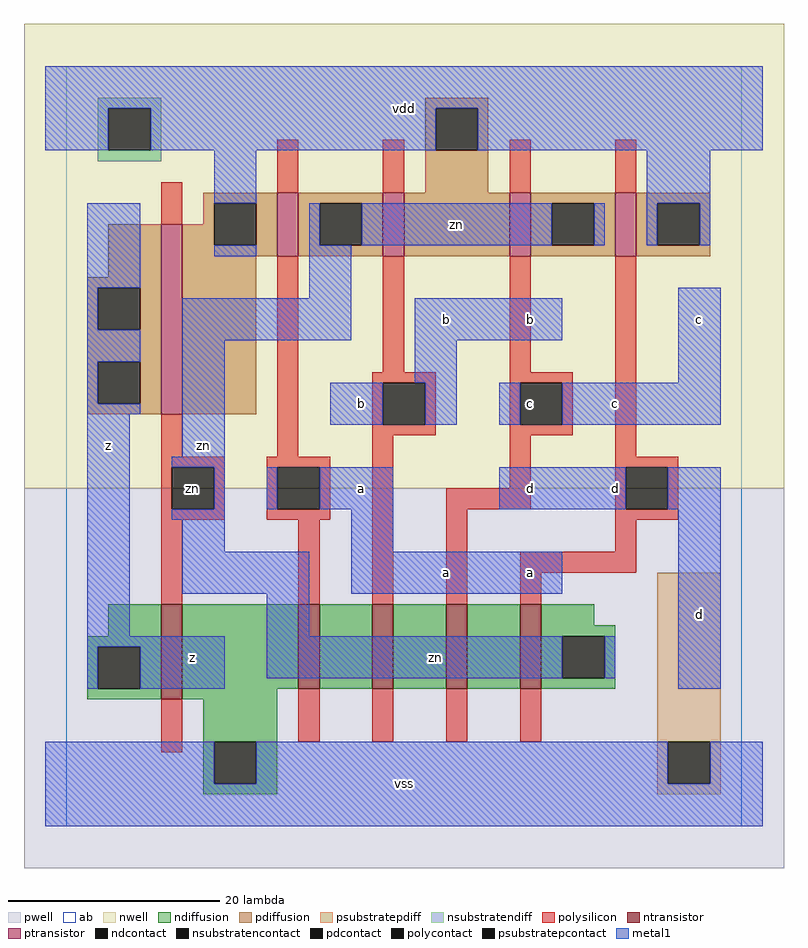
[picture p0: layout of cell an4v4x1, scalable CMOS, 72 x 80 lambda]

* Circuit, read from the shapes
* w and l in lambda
.subckt an4v4x1 a b c d vdd vss z zn
M1 vss zn z vss nfet w=9 l=2
M2 n1 a vss vss nfet w=8 l=2
M3 n2 b n1 vss nfet w=8 l=2
M4 n3 c n2 vss nfet w=8 l=2
M5 zn d n3 vss nfet w=8 l=2
M6 vdd zn z vdd pfet w=18 l=2
M7 zn a vdd vdd pfet w=6 l=2
M8 vdd b zn vdd pfet w=6 l=2
M9 zn c vdd vdd pfet w=6 l=2
M10 vdd d zn vdd pfet w=6 l=2
.ends

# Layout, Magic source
magic
tech scmos
<< ab >>
rect 0 0 64 72
<< pwell >>
rect -4 -4 68 32
<< nwell >>
rect -4 32 68 76
<< polysilicon >>
rect 9 57 11 61
rect 20 60 22 65
rect 30 60 32 65
rect 42 60 44 65
rect 52 60 54 65
rect 9 35 11 39
rect 20 35 22 54
rect 30 43 32 54
rect 42 43 44 54
rect 29 42 35 43
rect 29 38 30 42
rect 34 38 35 42
rect 29 37 35 38
rect 42 42 48 43
rect 42 38 43 42
rect 47 38 48 42
rect 42 37 48 38
rect 9 34 15 35
rect 9 30 10 34
rect 14 30 15 34
rect 9 29 15 30
rect 19 34 25 35
rect 19 30 20 34
rect 24 30 25 34
rect 19 29 25 30
rect 9 21 11 29
rect 22 21 24 29
rect 29 21 31 37
rect 42 32 44 37
rect 36 30 44 32
rect 52 35 54 54
rect 52 34 58 35
rect 52 30 53 34
rect 57 30 58 34
rect 36 21 38 30
rect 52 29 58 30
rect 52 26 54 29
rect 43 24 54 26
rect 43 21 45 24
rect 9 7 11 12
rect 22 8 24 13
rect 29 8 31 13
rect 36 8 38 13
rect 43 8 45 13
<< ndiffusion >>
rect 4 18 9 21
rect 2 17 9 18
rect 2 13 3 17
rect 7 13 9 17
rect 2 12 9 13
rect 11 13 22 21
rect 24 13 29 21
rect 31 13 36 21
rect 38 13 43 21
rect 45 19 50 21
rect 45 18 52 19
rect 45 14 47 18
rect 51 14 52 18
rect 45 13 52 14
rect 11 12 20 13
rect 13 8 20 12
rect 13 4 14 8
rect 18 4 20 8
rect 13 3 20 4
<< pdiffusion >>
rect 34 68 40 69
rect 34 64 35 68
rect 39 64 40 68
rect 34 60 40 64
rect 13 59 20 60
rect 13 57 14 59
rect 4 52 9 57
rect 2 51 9 52
rect 2 47 3 51
rect 7 47 9 51
rect 2 44 9 47
rect 2 40 3 44
rect 7 40 9 44
rect 2 39 9 40
rect 11 55 14 57
rect 18 55 20 59
rect 11 54 20 55
rect 22 59 30 60
rect 22 55 24 59
rect 28 55 30 59
rect 22 54 30 55
rect 32 54 42 60
rect 44 59 52 60
rect 44 55 46 59
rect 50 55 52 59
rect 44 54 52 55
rect 54 59 61 60
rect 54 55 56 59
rect 60 55 61 59
rect 54 54 61 55
rect 11 39 18 54
<< metal1 >>
rect -2 68 66 72
rect -2 64 4 68
rect 8 64 35 68
rect 39 64 66 68
rect 14 59 18 64
rect 55 59 61 64
rect 2 51 7 59
rect 14 54 18 55
rect 23 55 24 59
rect 28 55 46 59
rect 50 55 51 59
rect 55 55 56 59
rect 60 55 61 59
rect 2 47 3 51
rect 23 50 27 55
rect 2 44 7 47
rect 2 40 3 44
rect 2 39 7 40
rect 11 46 27 50
rect 33 46 47 50
rect 2 18 6 39
rect 11 35 15 46
rect 33 42 37 46
rect 58 42 62 51
rect 25 38 30 42
rect 34 38 37 42
rect 41 38 43 42
rect 47 38 62 42
rect 10 34 15 35
rect 14 30 15 34
rect 19 30 20 34
rect 24 30 31 34
rect 41 30 53 34
rect 57 30 62 34
rect 10 29 15 30
rect 11 26 15 29
rect 27 26 31 30
rect 11 22 23 26
rect 27 22 47 26
rect 19 18 23 22
rect 2 17 15 18
rect 2 13 3 17
rect 7 13 15 17
rect 19 14 47 18
rect 51 14 52 18
rect 58 13 62 30
rect -2 4 14 8
rect 18 4 57 8
rect 61 4 66 8
rect -2 0 66 4
<< ntransistor >>
rect 9 12 11 21
rect 22 13 24 21
rect 29 13 31 21
rect 36 13 38 21
rect 43 13 45 21
<< ptransistor >>
rect 9 39 11 57
rect 20 54 22 60
rect 30 54 32 60
rect 42 54 44 60
rect 52 54 54 60
<< polycontact >>
rect 30 38 34 42
rect 43 38 47 42
rect 10 30 14 34
rect 20 30 24 34
rect 53 30 57 34
<< ndcontact >>
rect 3 13 7 17
rect 47 14 51 18
rect 14 4 18 8
<< pdcontact >>
rect 35 64 39 68
rect 3 47 7 51
rect 3 40 7 44
rect 14 55 18 59
rect 24 55 28 59
rect 46 55 50 59
rect 56 55 60 59
<< psubstratepcontact >>
rect 57 4 61 8
<< nsubstratencontact >>
rect 4 64 8 68
<< psubstratepdiff >>
rect 56 8 62 24
rect 56 4 57 8
rect 61 4 62 8
rect 56 3 62 4
<< nsubstratendiff >>
rect 3 68 9 69
rect 3 64 4 68
rect 8 64 9 68
rect 3 63 9 64
<< labels >>
rlabel polycontact 12 32 12 32 6 zn
rlabel metal1 4 36 4 36 6 z
rlabel metal1 12 16 12 16 6 z
rlabel metal1 13 36 13 36 6 zn
rlabel metal1 32 4 32 4 6 vss
rlabel metal1 36 24 36 24 6 a
rlabel metal1 28 32 28 32 6 a
rlabel metal1 28 40 28 40 6 b
rlabel metal1 36 48 36 48 6 b
rlabel metal1 32 68 32 68 6 vdd
rlabel metal1 35 16 35 16 6 zn
rlabel metal1 44 24 44 24 6 a
rlabel metal1 44 32 44 32 6 d
rlabel polycontact 44 40 44 40 6 c
rlabel metal1 44 48 44 48 6 b
rlabel metal1 37 57 37 57 6 zn
rlabel metal1 60 20 60 20 6 d
rlabel metal1 52 32 52 32 6 d
rlabel metal1 52 40 52 40 6 c
rlabel metal1 60 48 60 48 6 c
<< end >>
